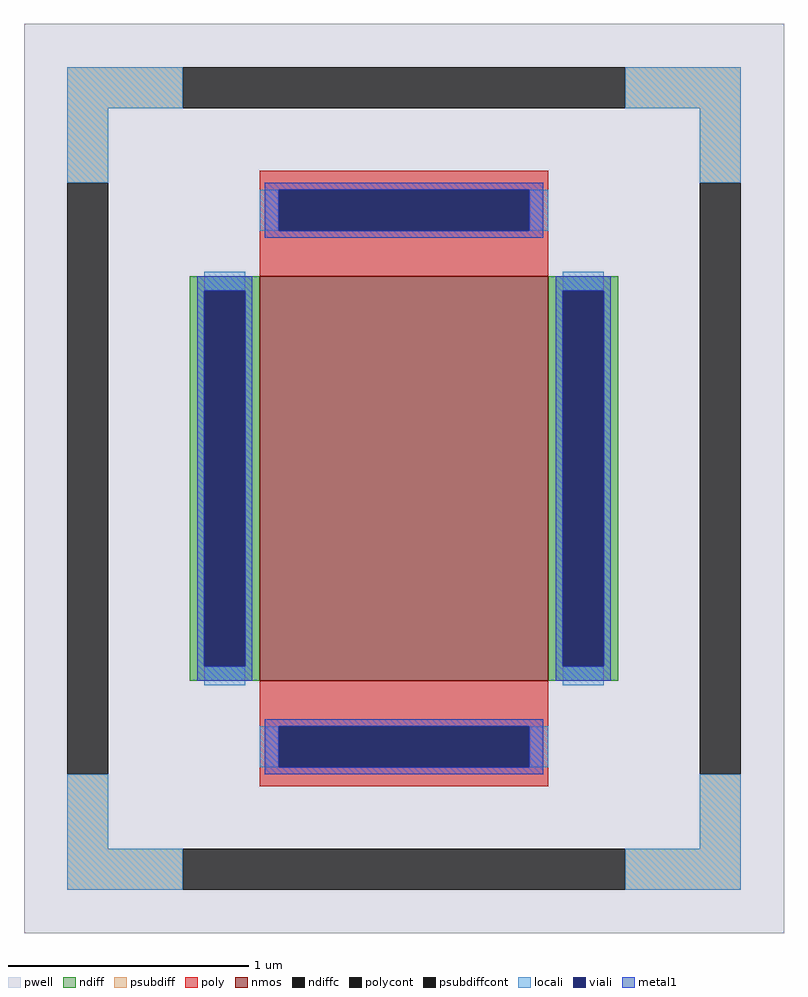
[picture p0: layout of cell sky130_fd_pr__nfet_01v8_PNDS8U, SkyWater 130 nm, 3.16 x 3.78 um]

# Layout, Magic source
magic
tech sky130A
<< pwell >>
rect -158 -189 158 189
<< nmos >>
rect -60 -84 60 84
<< ndiff >>
rect -89 78 -60 84
rect -89 -78 -83 78
rect -66 -78 -60 78
rect -89 -84 -60 -78
rect 60 78 89 84
rect 60 -78 66 78
rect 83 -78 89 78
rect 60 -84 89 -78
<< ndiffc >>
rect -83 -78 -66 78
rect 66 -78 83 78
<< psubdiff >>
rect -140 154 -92 171
rect 92 154 140 171
rect -140 123 -123 154
rect 123 123 140 154
rect -140 -154 -123 -123
rect 123 -154 140 -123
rect -140 -171 -92 -154
rect 92 -171 140 -154
<< psubdiffcont >>
rect -92 154 92 171
rect -140 -123 -123 123
rect 123 -123 140 123
rect -92 -171 92 -154
<< poly >>
rect -60 120 60 128
rect -60 103 -52 120
rect 52 103 60 120
rect -60 84 60 103
rect -60 -103 60 -84
rect -60 -120 -52 -103
rect 52 -120 60 -103
rect -60 -128 60 -120
<< polycont >>
rect -52 103 52 120
rect -52 -120 52 -103
<< locali >>
rect -140 154 -92 171
rect 92 154 140 171
rect -140 123 -123 154
rect 123 123 140 154
rect -60 103 -52 120
rect 52 103 60 120
rect -83 78 -66 86
rect -83 -86 -66 -78
rect 66 78 83 86
rect 66 -86 83 -78
rect -60 -120 -52 -103
rect 52 -120 60 -103
rect -140 -154 -123 -123
rect 123 -154 140 -123
rect -140 -171 -92 -154
rect 92 -171 140 -154
<< viali >>
rect -52 103 52 120
rect -83 -78 -66 78
rect 66 -78 83 78
rect -52 -120 52 -103
<< metal1 >>
rect -58 120 58 123
rect -58 103 -52 120
rect 52 103 58 120
rect -58 100 58 103
rect -86 78 -63 84
rect -86 -78 -83 78
rect -66 -78 -63 78
rect -86 -84 -63 -78
rect 63 78 86 84
rect 63 -78 66 78
rect 83 -78 86 78
rect 63 -84 86 -78
rect -58 -103 58 -100
rect -58 -120 -52 -103
rect 52 -120 58 -103
rect -58 -123 58 -120
<< properties >>
string FIXED_BBOX -131 -162 131 162
string gencell sky130_fd_pr__nfet_01v8
string library sky130
string parameters w 1.68 l 1.2 m 1 nf 1 diffcov 100 polycov 100 guard 1 glc 1 grc 1 gtc 1 gbc 1 tbcov 100 rlcov 100 topc 1 botc 1 poverlap 0 doverlap 1 lmin 0.15 wmin 0.42 compatible {sky130_fd_pr__nfet_01v8 sky130_fd_pr__nfet_01v8_lvt  sky130_fd_bs_flash__special_sonosfet_star  sky130_fd_pr__nfet_g5v0d10v5 sky130_fd_pr__nfet_05v0_nvt  sky130_fd_pr__nfet_03v3_nvt} full_metal 1 viasrc 100 viadrn 100 viagate 100 viagb 0 viagr 0 viagl 0 viagt 0
<< end >>
